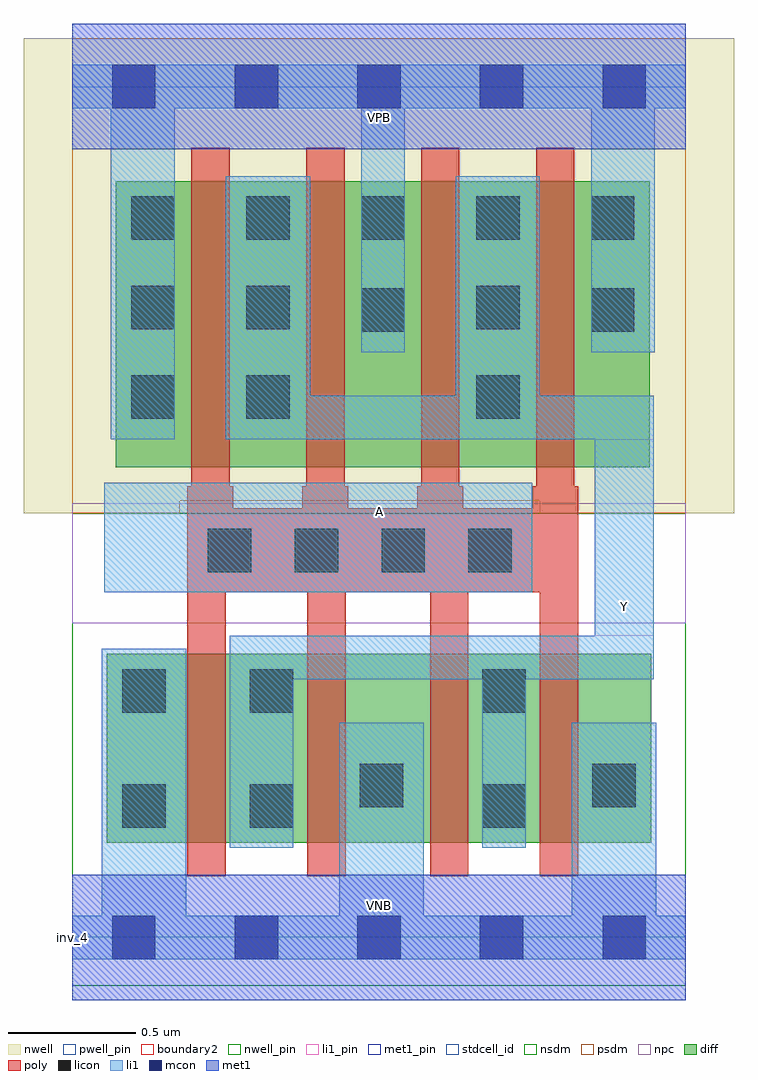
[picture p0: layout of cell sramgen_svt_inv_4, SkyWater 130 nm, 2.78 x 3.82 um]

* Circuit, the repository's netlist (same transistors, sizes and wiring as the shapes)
* Copyright 2020 The SkyWater PDK Authors
*
* Licensed under the Apache License, Version 2.0 (the "License");
* you may not use this file except in compliance with the License.
* You may obtain a copy of the License at
*
*     https://www.apache.org/licenses/LICENSE-2.0
*
* Unless required by applicable law or agreed to in writing, software
* distributed under the License is distributed on an "AS IS" BASIS,
* WITHOUT WARRANTIES OR CONDITIONS OF ANY KIND, either express or implied.
* See the License for the specific language governing permissions and
* limitations under the License.
*
* SPDX-License-Identifier: Apache-2.0


.subckt sramgen_svt_inv_4 A VGND VNB VPB VPWR Y
X0 VGND A Y VNB sky130_fd_pr__nfet_01v8 w=740000u l=150000u
X1 VPWR A Y VPB sky130_fd_pr__pfet_01v8 w=1.12 l=150000u
X2 VPWR A Y VPB sky130_fd_pr__pfet_01v8 w=1.12 l=150000u
X3 VGND A Y VNB sky130_fd_pr__nfet_01v8 w=740000u l=150000u
X4 Y A VGND VNB sky130_fd_pr__nfet_01v8 w=740000u l=150000u
X5 Y A VPWR VPB sky130_fd_pr__pfet_01v8 w=1.12 l=150000u
X6 Y A VPWR VPB sky130_fd_pr__pfet_01v8 w=1.12 l=150000u
X7 Y A VGND VNB sky130_fd_pr__nfet_01v8 w=740000u l=150000u
.ends

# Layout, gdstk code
import gdstk
lib = gdstk.Library(unit=1e-6, precision=1e-09)
def R(c, l, rs):  # rectangles x0, y0, x1, y1
    for r in rs: c.add(gdstk.rectangle(r[:2], r[2:], *l))
def A(c, l, x, y, w, h, nx, ny, dx, dy):  # array of equal rectangles
    R(c, l, [(x+i*dx, y+j*dy, x+i*dx+w, y+j*dy+h) for i in range(nx) for j in range(ny)])
def P(c, l, *ps):  # polygons
    for p in ps: c.add(gdstk.Polygon(p, *l))
nwell_pin = (64, 16)
nwell = (64, 20)
diff = (65, 20)
poly = (66, 20)
licon = (66, 44)
li1_pin = (67, 16)
li1 = (67, 20)
mcon = (67, 44)
met1_pin = (68, 16)
met1 = (68, 20)
stdcell_id = (81, 4)
nsdm = (93, 44)
psdm = (94, 20)
npc = (95, 20)
pwell_pin = (122, 16)
boundary2 = (236, 0)

sramgen_svt_inv_4 = lib.new_cell('sramgen_svt_inv_4')
R(sramgen_svt_inv_4, nwell_pin, [(0,3.085,2.4,3.33)])
R(sramgen_svt_inv_4, nwell, [(-0.19,1.66,2.59,3.52)])
R(sramgen_svt_inv_4, diff, [(0.135,0.37,2.265,1.11), (0.17,1.84,2.26,2.96)])
P(sramgen_svt_inv_4, poly, [(0.45,0.24),(0.45,1.765),(0.465,1.765),(0.465,3.09),(0.615,3.09),(0.615,1.765),(0.63,1.765),(0.63,1.68),(0.9,1.68),(0.9,1.765),(0.915,1.765),(0.915,3.09),(1.065,3.09),(1.065,1.765),(1.08,1.765),(1.08,1.68),(1.35,1.68),(1.35,1.765),(1.365,1.765),(1.365,3.09),(1.515,3.09),(1.515,1.765),(1.53,1.765),(1.53,1.68),(1.8,1.68),(1.8,1.765),(1.815,1.765),(1.815,3.09),(1.965,3.09),(1.965,1.765),(1.98,1.765),(1.98,0.24),(1.83,0.24),(1.83,1.35),(1.55,1.35),(1.55,0.24),(1.4,0.24),(1.4,1.35),(1.07,1.35),(1.07,0.24),(0.92,0.24),(0.92,1.35),(0.6,1.35),(0.6,0.24)])
A(sramgen_svt_inv_4, licon, 0.53, 1.43, 0.17, 0.17, 4, 1, 0.34, 0)
A(sramgen_svt_inv_4, licon, 0.23, 2.73, 0.17, 0.17, 5, 1, 0.45, 0)
R(sramgen_svt_inv_4, licon, [(0.195,0.43,0.365,0.6), (0.695,0.43,0.865,0.6), (1.605,0.43,1.775,0.6), (1.125,0.51,1.295,0.68), (2.035,0.51,2.205,0.68), (0.195,0.88,0.365,1.05), (0.695,0.88,0.865,1.05), (1.605,0.88,1.775,1.05), (0.23,2.03,0.4,2.2), (0.68,2.03,0.85,2.2), (1.58,2.03,1.75,2.2), (1.13,2.37,1.3,2.54), (2.03,2.37,2.2,2.54), (0.23,2.38,0.4,2.55), (0.68,2.38,0.85,2.55), (1.58,2.38,1.75,2.55)])
R(sramgen_svt_inv_4, li1_pin, [(2.045,1.18,2.275,1.95), (0.125,1.35,1.8,1.78)])
R(sramgen_svt_inv_4, li1, [(0.125,1.35,1.8,1.78)])
P(sramgen_svt_inv_4, li1, [(0,-0.085),(0,0.085),(0.115,0.085),(0.115,1.13),(0.445,1.13),(0.445,0.085),(1.045,0.085),(1.045,0.84),(1.375,0.84),(1.375,0.085),(1.955,0.085),(1.955,0.84),(2.285,0.84),(2.285,0.085),(2.4,0.085),(2.4,-0.085)],
  [(0.15,1.95),(0.15,3.245),(0,3.245),(0,3.415),(2.4,3.415),(2.4,3.245),(2.28,3.245),(2.28,2.29),(2.03,2.29),(2.03,3.245),(1.3,3.245),(1.3,2.29),(1.13,2.29),(1.13,3.245),(0.4,3.245),(0.4,1.95)],
  [(0.615,0.35),(0.615,1.18),(2.045,1.18),(2.045,1.95),(0.6,1.95),(0.6,2.98),(0.93,2.98),(0.93,2.12),(1.5,2.12),(1.5,2.98),(1.83,2.98),(1.83,2.12),(2.275,2.12),(2.275,1.01),(1.775,1.01),(1.775,0.35),(1.605,0.35),(1.605,1.01),(0.865,1.01),(0.865,0.35)])
A(sramgen_svt_inv_4, mcon, 0.155, -0.085, 0.17, 0.17, 5, 2, 0.48, 3.33)
R(sramgen_svt_inv_4, met1_pin, [(0,-0.245,2.4,0.245), (0,3.085,2.4,3.575)])
R(sramgen_svt_inv_4, met1, [(0,-0.245,2.4,0.245), (0,3.085,2.4,3.575)])
R(sramgen_svt_inv_4, stdcell_id, [(0,0,2.4,3.33)])
R(sramgen_svt_inv_4, nsdm, [(0,-0.19,2.4,1.66)])
P(sramgen_svt_inv_4, psdm, [(0,1.66),(0,3.52),(2.4,3.52),(2.4,1.66),(1.83,1.66),(1.83,1.71),(0.42,1.71),(0.42,1.66)])
R(sramgen_svt_inv_4, npc, [(0,1.23,2.4,1.7)])
R(sramgen_svt_inv_4, pwell_pin, [(0,0,2.4,0.245)])
R(sramgen_svt_inv_4, boundary2, [(0,0,2.4,3.33)])
sramgen_svt_inv_4.add(gdstk.Label('inv_4', (0,0), layer=83, texttype=44))
sramgen_svt_inv_4.add(gdstk.Label('VNB', (1.2,0.123), layer=64, texttype=59))
sramgen_svt_inv_4.add(gdstk.Label('VPB', (1.2,3.208), layer=64, texttype=5))
sramgen_svt_inv_4.add(gdstk.Label('VPWR', (1.2,3.208), layer=68, texttype=5))
sramgen_svt_inv_4.add(gdstk.Label('VGND', (1.2,0.123), layer=68, texttype=5))
sramgen_svt_inv_4.add(gdstk.Label('Y', (2.16,1.295), layer=67, texttype=5))
sramgen_svt_inv_4.add(gdstk.Label('A', (1.2,1.665), layer=67, texttype=5))

lib.write_gds('sramgen_svt_inv_4.gds')
